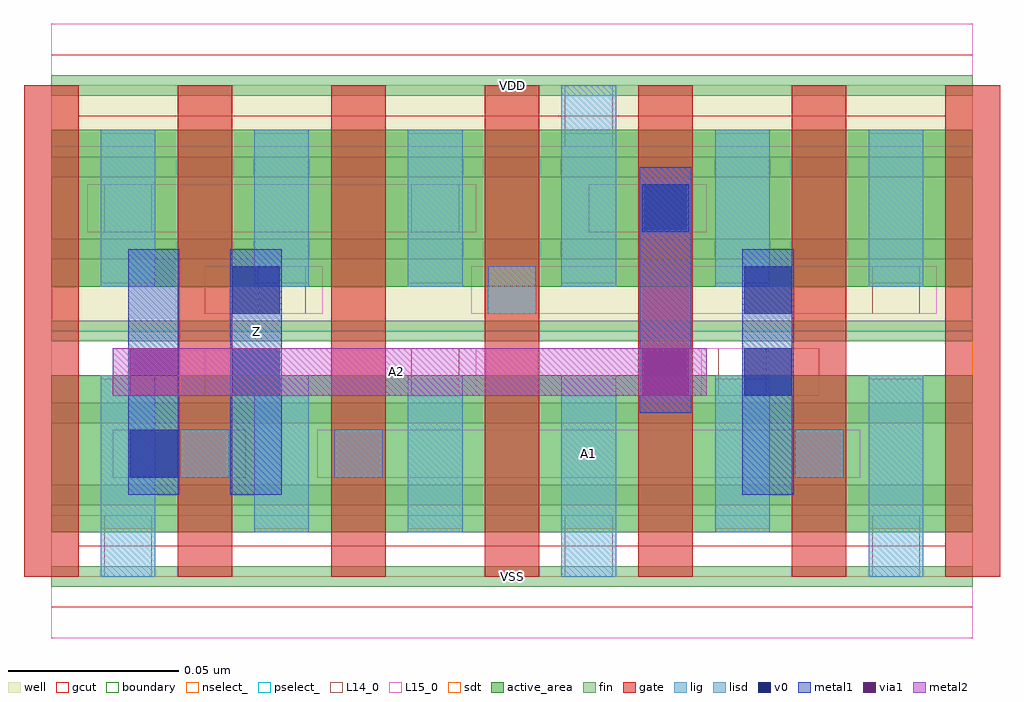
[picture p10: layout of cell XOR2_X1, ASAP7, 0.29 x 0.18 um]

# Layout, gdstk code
import gdstk
lib = gdstk.Library(unit=1e-6, precision=2.5e-10)
def R(c, l, rs):  # rectangles x0, y0, x1, y1
    for r in rs: c.add(gdstk.rectangle(r[:2], r[2:], *l))
def A(c, l, x, y, w, h, nx, ny, dx, dy):  # array of equal rectangles
    R(c, l, [(x+i*dx, y+j*dy, x+i*dx+w, y+j*dy+h) for i in range(nx) for j in range(ny)])
def P(c, l, *ps):  # polygons
    for p in ps: c.add(gdstk.Polygon(p, *l))
well = (1, 0)
fin = (2, 0)
gate = (7, 0)
gcut = (10, 0)
active_area = (11, 0)
nselect_ = (12, 0)
pselect_ = (13, 0)
L14_0 = (14, 0)
L15_0 = (15, 0)
lig = (16, 0)
lisd = (17, 0)
v0 = (18, 0)
metal1 = (19, 0)
metal2 = (20, 0)
via1 = (21, 0)
sdt = (88, 0)
boundary = (100, 0)

xor2_x1 = lib.new_cell('XOR2_X1')
R(xor2_x1, well, [(0,0.072,0.27,0.144)])
A(xor2_x1, fin, 0, -0.003, 0.27, 0.006, 1, 7, 0, 0.024)
A(xor2_x1, gate, -0.008, 0, 0.016, 0.144, 7, 1, 0.045, 0)
P(xor2_x1, gcut, [(0,-0.009),(0,0),(-0.008,0),(-0.008,0.135),(0.008,0.135),(0.008,0.009),(0.262,0.009),(0.262,0.135),(-0.008,0.135),(-0.008,0.144),(0,0.144),(0,0.153),(0.27,0.153),(0.27,0.144),(0.278,0.144),(0.278,0),(0.27,0),(0.27,-0.009)])
R(xor2_x1, active_area, [(0,0.013,0.27,0.059), (0,0.085,0.27,0.131)])
R(xor2_x1, nselect_, [(0,0,0.27,0.072)])
R(xor2_x1, pselect_, [(0,0.072,0.27,0.144)])
R(xor2_x1, L14_0, [(0.0155,0,0.0295,0.018), (0.1505,0,0.1645,0.018), (0.2405,0,0.2545,0.018), (0.038,0.029,0.052,0.043), (0.083,0.029,0.097,0.043), (0.218,0.029,0.232,0.043), (0.1055,0.053,0.1195,0.067), (0.1955,0.053,0.2095,0.067), (0.0605,0.077,0.0745,0.091), (0.128,0.077,0.142,0.091), (0.2405,0.077,0.2545,0.091), (0.0155,0.101,0.0295,0.115), (0.1055,0.101,0.1195,0.115), (0.173,0.101,0.187,0.115), (0.1505,0.126,0.1645,0.144)])
R(xor2_x1, L15_0, [(0,-0.018,0.27,0.018), (0.018,0.029,0.057,0.043), (0.078,0.029,0.237,0.043), (0.045,0.053,0.1245,0.067), (0.1905,0.053,0.225,0.067), (0.045,0.077,0.0795,0.091), (0.123,0.077,0.2595,0.091), (0.0105,0.101,0.1245,0.115), (0.1575,0.101,0.192,0.115), (0,0.126,0.27,0.162)])
R(xor2_x1, lig, [(0.038,0.029,0.052,0.043), (0.083,0.029,0.097,0.043), (0.218,0.029,0.232,0.043), (0.128,0.077,0.142,0.091), (0.173,0.101,0.187,0.115)])
A(xor2_x1, lisd, 0.0145, 0.085, 0.016, 0.046, 3, 1, 0.045, 0)
R(xor2_x1, lisd, [(0.0145,0,0.0305,0.059), (0.1495,0,0.1655,0.059), (0.2395,0,0.2555,0.059), (0.0595,0.013,0.0755,0.059), (0.1045,0.013,0.1205,0.059), (0.1945,0.013,0.2105,0.059), (0.1495,0.085,0.1655,0.144), (0.1945,0.085,0.2105,0.131), (0.2395,0.085,0.2555,0.131)])
R(xor2_x1, v0, [(0.023,0.029,0.037,0.043), (0.053,0.053,0.067,0.067), (0.203,0.053,0.217,0.067), (0.053,0.077,0.067,0.091), (0.203,0.077,0.217,0.091), (0.173,0.101,0.187,0.115)])
R(xor2_x1, metal1, [(0.0225,0.024,0.0375,0.096), (0.0525,0.024,0.0675,0.096), (0.2025,0.024,0.2175,0.096), (0.1725,0.048,0.1875,0.12)])
R(xor2_x1, metal2, [(0.018,0.053,0.192,0.067)])
R(xor2_x1, via1, [(0.023,0.053,0.037,0.067), (0.173,0.053,0.187,0.067)])
A(xor2_x1, sdt, 0.0145, 0.014, 0.016, 0.044, 6, 2, 0.045, 0.072)
R(xor2_x1, boundary, [(0,0,0.27,0.144)])
xor2_x1.add(gdstk.Label('VSS', (0.135,0), layer=15, texttype=251))
xor2_x1.add(gdstk.Label('VDD', (0.135,0.144), layer=15, texttype=251))
xor2_x1.add(gdstk.Label('A1', (0.1575,0.036), layer=15, texttype=251))
xor2_x1.add(gdstk.Label('VSS', (0.135,0), layer=15, texttype=251))
xor2_x1.add(gdstk.Label('VDD', (0.135,0.144), layer=15, texttype=251))
xor2_x1.add(gdstk.Label('VSS', (0.135,0), layer=15, texttype=251))
xor2_x1.add(gdstk.Label('VDD', (0.135,0.144), layer=15, texttype=251))
xor2_x1.add(gdstk.Label('VSS', (0.135,0), layer=3, texttype=251))
xor2_x1.add(gdstk.Label('VSS', (0.135,0), layer=3, texttype=251))
xor2_x1.add(gdstk.Label('VSS', (0.135,0), layer=3, texttype=251))
xor2_x1.add(gdstk.Label('VDD', (0.135,0.144), layer=1, texttype=251))
xor2_x1.add(gdstk.Label('VDD', (0.135,0.144), layer=1, texttype=251))
xor2_x1.add(gdstk.Label('VDD', (0.135,0.144), layer=1, texttype=251))
xor2_x1.add(gdstk.Label('A2', (0.1013,0.06), layer=20, texttype=251))
xor2_x1.add(gdstk.Label('Z', (0.06,0.072), layer=19, texttype=251))

lib.write_gds('XOR2_X1.gds')
